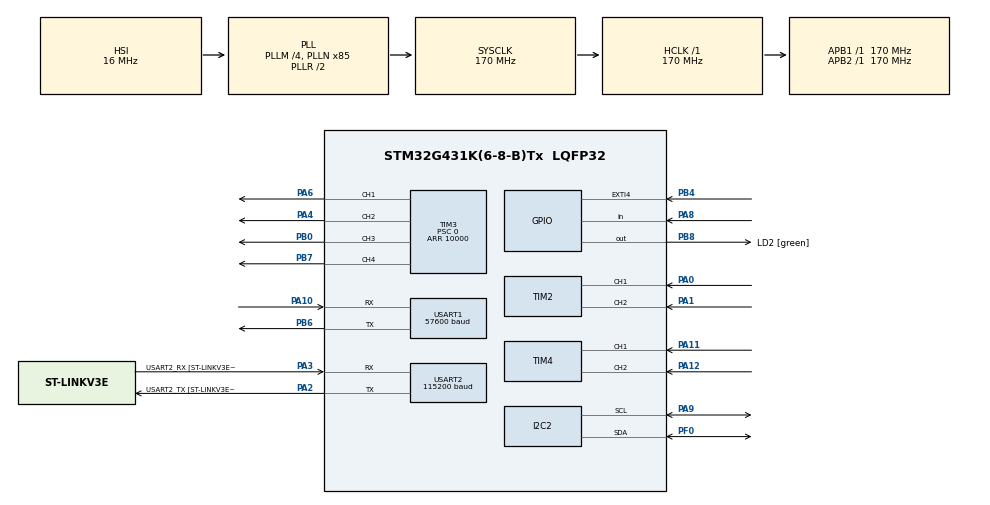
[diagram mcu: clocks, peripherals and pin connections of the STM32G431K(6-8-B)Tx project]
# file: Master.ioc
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I2C2.Timing=0x30A0A7FB
Mcu.Family=STM32G4
Mcu.Name=STM32G431K(6-8-B)Tx
Mcu.Package=LQFP32
NVIC.EXTI4_IRQn=true\:2\:0\:true\:false\:true\:true\:true
NVIC.I2C2_EV_IRQn=true\:0\:0\:false\:false\:true\:true\:true
NVIC.PriorityGroup=NVIC_PRIORITYGROUP_4
NVIC.TIM3_IRQn=true\:1\:0\:true\:false\:true\:true\:true
NVIC.USART2_IRQn=true\:0\:0\:true\:false\:true\:true\:true
PA0.Signal=S_TIM2_CH1
PA1.Signal=S_TIM2_CH2
PA10.Mode=Asynchronous
PA10.Signal=USART1_RX
PA11.Signal=S_TIM4_CH1
PA12.Signal=S_TIM4_CH2
PA13.GPIO_Label=T_SWDIO
PA13.Mode=Serial_Wire
PA13.Signal=SYS_JTMS-SWDIO
PA14.GPIO_Label=T_SWCLK
PA14.Mode=Serial_Wire
PA14.Signal=SYS_JTCK-SWCLK
PA2.GPIO_Label=USART2_TX [ST-LINKV3E_VCP_RX]
PA2.Mode=Asynchronous
PA2.Signal=USART2_TX
PA3.GPIO_Label=USART2_RX [ST-LINKV3E_VCP_TX]
PA3.Mode=Asynchronous
PA3.Signal=USART2_RX
PA4.Signal=S_TIM3_CH2
PA6.Signal=S_TIM3_CH1
PA8.GPIO_PuPd=GPIO_PULLUP
PA8.Signal=GPIO_Input
PA9.GPIO_Pu=GPIO_PULLUP
PA9.Mode=I2C
PA9.Signal=I2C2_SCL
PB0.Signal=S_TIM3_CH3
PB3.GPIO_Label=T_SWO
PB3.Signal=SYS_JTDO-SWO
PB4.GPIO_PuPd=GPIO_PULLDOWN
PB4.Signal=GPXTI4
PB6.GPIO_PuPd=GPIO_PULLUP
PB6.Mode=Asynchronous
PB6.Signal=USART1_TX
PB7.Signal=S_TIM3_CH4
PB8-BOOT0.GPIO_Label=LD2 [green]
PB8-BOOT0.Signal=GPIO_Output
PF0-OSC_IN.GPIO_Pu=GPIO_PULLUP
PF0-OSC_IN.Mode=I2C
PF0-OSC_IN.Signal=I2C2_SDA
ProjectManager.HeapSize=0x200
ProjectManager.StackSize=0x400
ProjectManager.TargetToolchain=STM32CubeIDE
RCC.ADC12Freq_Value=170000000
RCC.AHBFreq_Value=170000000
RCC.APB1Freq_Value=170000000
RCC.APB1TimFreq_Value=170000000
RCC.APB2Freq_Value=170000000
RCC.APB2TimFreq_Value=170000000
RCC.CortexFreq_Value=170000000
RCC.EXTERNAL_CLOCK_VALUE=12288000
RCC.HCLKFreq_Value=170000000
RCC.HSE_VALUE=8000000
RCC.HSI48_VALUE=48000000
RCC.HSI_VALUE=16000000
RCC.LSE_VALUE=32768
RCC.PLLM=RCC_PLLM_DIV4
RCC.PLLN=85
RCC.SYSCLKFreq_VALUE=170000000
RCC.SYSCLKSource=RCC_SYSCLKSOURCE_PLLCLK
RCC.USBFreq_Value=170000000
RCC.VCOOutputFreq_Value=340000000
SH.S_TIM2_CH1.0=TIM2_CH1,Encoder_Interface
SH.S_TIM2_CH2.0=TIM2_CH2,Encoder_Interface
SH.S_TIM3_CH1.0=TIM3_CH1,PWM Generation1 CH1
SH.S_TIM3_CH2.0=TIM3_CH2,PWM Generation2 CH2
SH.S_TIM3_CH3.0=TIM3_CH3,PWM Generation3 CH3
SH.S_TIM3_CH4.0=TIM3_CH4,PWM Generation4 CH4
SH.S_TIM4_CH1.0=TIM4_CH1,Encoder_Interface
SH.S_TIM4_CH2.0=TIM4_CH2,Encoder_Interface
TIM3.Channel-PWM\ Generation1\ CH1=TIM_CHANNEL_1
TIM3.Channel-PWM\ Generation2\ CH2=TIM_CHANNEL_2
TIM3.Channel-PWM\ Generation3\ CH3=TIM_CHANNEL_3
TIM3.Channel-PWM\ Generation4\ CH4=TIM_CHANNEL_4
TIM3.PeriodNoDither=10000
TIM3.Prescaler=0
USART1.BaudRate=57600
USART1.StopBits=STOPBITS_1
USART1.VirtualMode-Asynchronous=VM_ASYNC
USART2.BaudRate=115200
USART2.StopBits=STOPBITS_1
USART2.VirtualMode-Asynchronous=VM_ASYNC
USART2.WordLength=WORDLENGTH_8B
VP_SYS_VS_DBSignals.Mode=DisableDeadBatterySignals
VP_TIM3_VS_ClockSourceINT.Mode=Internal
board=NUCLEO-G431KB

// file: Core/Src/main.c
/* USER CODE BEGIN Header */
/**
 ******************************************************************************
 * @file           : main.c
 * @brief          : Main program body
 ******************************************************************************
 * @attention
 *
 * <h2><center>&copy; Copyright (c) 2021 STMicroelectronics.
 * All rights reserved.</center></h2>
 *
 * This software component is licensed by ST under BSD 3-Clause license,
 * the "License"; You may not use this file except in compliance with the
 * License. You may obtain a copy of the License at:
 *                        opensource.org/licenses/BSD-3-Clause
 *
 ******************************************************************************
 */
/* USER CODE END Header */
#include "main.h"

/* USER CODE BEGIN Includes */
#include <math.h>
#include "motion.h"
#include <order/motion.h>
#include "hl.h"
#include "crc_calculation.h"
#include "dxl.h"
#include "order/dxl.h"
#include "misc.h"
#include "order/actuator.h"
#include "homologation.h"
/* USER CODE END Includes */

I2C_HandleTypeDef hi2c2;

TIM_HandleTypeDef htim2;
TIM_HandleTypeDef htim3;
TIM_HandleTypeDef htim4;

UART_HandleTypeDef huart1;
UART_HandleTypeDef huart2;

/* USER CODE BEGIN PV */
const uint32_t pwm_base = 1e5;
/* USER CODE END PV */

void SystemClock_Config(void);
static void MX_GPIO_Init(void);
static void MX_USART2_UART_Init(void);
static void MX_TIM2_Init(void);
static void MX_TIM3_Init(void);
static void MX_TIM4_Init(void);
static void MX_I2C2_Init(void);
static void MX_USART1_UART_Init(void);

int main(void)
{

  /* MCU Configuration--------------------------------------------------------*/

  /* Reset of all peripherals, Initializes the Flash interface and the Systick. */
  HAL_Init();

  /* Configure the system clock */
  SystemClock_Config();

  /* Initialize all configured peripherals */
  MX_GPIO_Init();
  MX_USART2_UART_Init();
  MX_TIM2_Init();
  MX_TIM3_Init();
  MX_TIM4_Init();
  MX_I2C2_Init();
  MX_USART1_UART_Init();
  /* USER CODE BEGIN 2 */
	HL_Init(&huart2);
	Motion_Init(&htim2, &htim4, &htim3);
	HAL_Delay(5000);
	DXL_Init(&huart1);
	Misc_Init(&hi2c2);

	//uint8_t Ping[] = {0xFF, 0xFF, 0xFD, 0x00, 0xFE, 0x03, 0x00, 0x01, 0x31, 0x42};
	for (uint8_t i =17;i>=4;i=i-1){
		 DXL_Position_Angle(i, 0);
		 HAL_Delay(500);
	}

	while ((isJumperOn()) != 1) {

	}

	script_homologation();

  /* USER CODE END 2 */

  /* Infinite loop */
	while (1) {

	}
}

void SystemClock_Config(void)
{
  RCC_OscInitTypeDef RCC_OscInitStruct = {0};
  RCC_ClkInitTypeDef RCC_ClkInitStruct = {0};

  /** Configure the main internal regulator output voltage
  */
  HAL_PWREx_ControlVoltageScaling(PWR_REGULATOR_VOLTAGE_SCALE1_BOOST);
  /** Initializes the RCC Oscillators according to the specified parameters
  * in the RCC_OscInitTypeDef structure.
  */
  RCC_OscInitStruct.OscillatorType = RCC_OSCILLATORTYPE_HSI;
  RCC_OscInitStruct.HSIState = RCC_HSI_ON;
  RCC_OscInitStruct.HSICalibrationValue = RCC_HSICALIBRATION_DEFAULT;
  RCC_OscInitStruct.PLL.PLLState = RCC_PLL_ON;
  RCC_OscInitStruct.PLL.PLLSource = RCC_PLLSOURCE_HSI;
  RCC_OscInitStruct.PLL.PLLM = RCC_PLLM_DIV4;
  RCC_OscInitStruct.PLL.PLLN = 85;
  RCC_OscInitStruct.PLL.PLLP = RCC_PLLP_DIV2;
  RCC_OscInitStruct.PLL.PLLQ = RCC_PLLQ_DIV2;
  RCC_OscInitStruct.PLL.PLLR = RCC_PLLR_DIV2;
  if (HAL_RCC_OscConfig(&RCC_OscInitStruct) != HAL_OK)
  {
    Error_Handler();
  }
  /** Initializes the CPU, AHB and APB buses clocks
  */
  RCC_ClkInitStruct.ClockType = RCC_CLOCKTYPE_HCLK|RCC_CLOCKTYPE_SYSCLK
                              |RCC_CLOCKTYPE_PCLK1|RCC_CLOCKTYPE_PCLK2;
  RCC_ClkInitStruct.SYSCLKSource = RCC_SYSCLKSOURCE_PLLCLK;
  RCC_ClkInitStruct.AHBCLKDivider = RCC_SYSCLK_DIV1;
  RCC_ClkInitStruct.APB1CLKDivider = RCC_HCLK_DIV1;
  RCC_ClkInitStruct.APB2CLKDivider = RCC_HCLK_DIV1;

  if (HAL_RCC_ClockConfig(&RCC_ClkInitStruct, FLASH_LATENCY_4) != HAL_OK)
  {
    Error_Handler();
  }
}

static void MX_I2C2_Init(void)
{

  hi2c2.Instance = I2C2;
  hi2c2.Init.Timing = 0x30A0A7FB;
  hi2c2.Init.OwnAddress1 = 0;
  hi2c2.Init.AddressingMode = I2C_ADDRESSINGMODE_7BIT;
  hi2c2.Init.DualAddressMode = I2C_DUALADDRESS_DISABLE;
  hi2c2.Init.OwnAddress2 = 0;
  hi2c2.Init.OwnAddress2Masks = I2C_OA2_NOMASK;
  hi2c2.Init.GeneralCallMode = I2C_GENERALCALL_DISABLE;
  hi2c2.Init.NoStretchMode = I2C_NOSTRETCH_DISABLE;
  if (HAL_I2C_Init(&hi2c2) != HAL_OK)
  {
    Error_Handler();
  }
  /** Configure Analogue filter
  */
  if (HAL_I2CEx_ConfigAnalogFilter(&hi2c2, I2C_ANALOGFILTER_ENABLE) != HAL_OK)
  {
    Error_Handler();
  }
  /** Configure Digital filter
  */
  if (HAL_I2CEx_ConfigDigitalFilter(&hi2c2, 0) != HAL_OK)
  {
    Error_Handler();
  }

}

static void MX_TIM2_Init(void)
{

  TIM_Encoder_InitTypeDef sConfig = {0};
  TIM_MasterConfigTypeDef sMasterConfig = {0};

  htim2.Instance = TIM2;
  htim2.Init.Prescaler = 0;
  htim2.Init.CounterMode = TIM_COUNTERMODE_UP;
  htim2.Init.Period = 4.294967295E9;
  htim2.Init.ClockDivision = TIM_CLOCKDIVISION_DIV1;
  htim2.Init.AutoReloadPreload = TIM_AUTORELOAD_PRELOAD_DISABLE;
  sConfig.EncoderMode = TIM_ENCODERMODE_TI1;
  sConfig.IC1Polarity = TIM_ICPOLARITY_RISING;
  sConfig.IC1Selection = TIM_ICSELECTION_DIRECTTI;
  sConfig.IC1Prescaler = TIM_ICPSC_DIV1;
  sConfig.IC1Filter = 0;
  sConfig.IC2Polarity = TIM_ICPOLARITY_RISING;
  sConfig.IC2Selection = TIM_ICSELECTION_DIRECTTI;
  sConfig.IC2Prescaler = TIM_ICPSC_DIV1;
  sConfig.IC2Filter = 0;
  if (HAL_TIM_Encoder_Init(&htim2, &sConfig) != HAL_OK)
  {
    Error_Handler();
  }
  sMasterConfig.MasterOutputTrigger = TIM_TRGO_RESET;
  sMasterConfig.MasterSlaveMode = TIM_MASTERSLAVEMODE_DISABLE;
  if (HAL_TIMEx_MasterConfigSynchronization(&htim2, &sMasterConfig) != HAL_OK)
  {
    Error_Handler();
  }

}

static void MX_TIM3_Init(void)
{

  TIM_ClockConfigTypeDef sClockSourceConfig = {0};
  TIM_MasterConfigTypeDef sMasterConfig = {0};
  TIM_OC_InitTypeDef sConfigOC = {0};

  htim3.Instance = TIM3;
  htim3.Init.Prescaler = 0;
  htim3.Init.CounterMode = TIM_COUNTERMODE_UP;
  htim3.Init.Period = 10000;
  htim3.Init.ClockDivision = TIM_CLOCKDIVISION_DIV1;
  htim3.Init.AutoReloadPreload = TIM_AUTORELOAD_PRELOAD_DISABLE;
  if (HAL_TIM_Base_Init(&htim3) != HAL_OK)
  {
    Error_Handler();
  }
  sClockSourceConfig.ClockSource = TIM_CLOCKSOURCE_INTERNAL;
  if (HAL_TIM_ConfigClockSource(&htim3, &sClockSourceConfig) != HAL_OK)
  {
    Error_Handler();
  }
  if (HAL_TIM_PWM_Init(&htim3) != HAL_OK)
  {
    Error_Handler();
  }
  sMasterConfig.MasterOutputTrigger = TIM_TRGO_RESET;
  sMasterConfig.MasterSlaveMode = TIM_MASTERSLAVEMODE_DISABLE;
  if (HAL_TIMEx_MasterConfigSynchronization(&htim3, &sMasterConfig) != HAL_OK)
  {
    Error_Handler();
  }
  sConfigOC.OCMode = TIM_OCMODE_PWM1;
  sConfigOC.Pulse = 0;
  sConfigOC.OCPolarity = TIM_OCPOLARITY_HIGH;
  sConfigOC.OCFastMode = TIM_OCFAST_DISABLE;
  if (HAL_TIM_PWM_ConfigChannel(&htim3, &sConfigOC, TIM_CHANNEL_1) != HAL_OK)
  {
    Error_Handler();
  }
  if (HAL_TIM_PWM_ConfigChannel(&htim3, &sConfigOC, TIM_CHANNEL_2) != HAL_OK)
  {
    Error_Handler();
  }
  if (HAL_TIM_PWM_ConfigChannel(&htim3, &sConfigOC, TIM_CHANNEL_3) != HAL_OK)
  {
    Error_Handler();
  }
  if (HAL_TIM_PWM_ConfigChannel(&htim3, &sConfigOC, TIM_CHANNEL_4) != HAL_OK)
  {
    Error_Handler();
  }
  HAL_TIM_MspPostInit(&htim3);

}

static void MX_TIM4_Init(void)
{

  TIM_Encoder_InitTypeDef sConfig = {0};
  TIM_MasterConfigTypeDef sMasterConfig = {0};

  htim4.Instance = TIM4;
  htim4.Init.Prescaler = 0;
  htim4.Init.CounterMode = TIM_COUNTERMODE_UP;
  htim4.Init.Period = 65535;
  htim4.Init.ClockDivision = TIM_CLOCKDIVISION_DIV1;
  htim4.Init.AutoReloadPreload = TIM_AUTORELOAD_PRELOAD_DISABLE;
  sConfig.EncoderMode = TIM_ENCODERMODE_TI1;
  sConfig.IC1Polarity = TIM_ICPOLARITY_RISING;
  sConfig.IC1Selection = TIM_ICSELECTION_DIRECTTI;
  sConfig.IC1Prescaler = TIM_ICPSC_DIV1;
  sConfig.IC1Filter = 0;
  sConfig.IC2Polarity = TIM_ICPOLARITY_RISING;
  sConfig.IC2Selection = TIM_ICSELECTION_DIRECTTI;
  sConfig.IC2Prescaler = TIM_ICPSC_DIV1;
  sConfig.IC2Filter = 0;
  if (HAL_TIM_Encoder_Init(&htim4, &sConfig) != HAL_OK)
  {
    Error_Handler();
  }
  sMasterConfig.MasterOutputTrigger = TIM_TRGO_RESET;
  sMasterConfig.MasterSlaveMode = TIM_MASTERSLAVEMODE_DISABLE;
  if (HAL_TIMEx_MasterConfigSynchronization(&htim4, &sMasterConfig) != HAL_OK)
  {
    Error_Handler();
  }

}

static void MX_USART1_UART_Init(void)
{

  huart1.Instance = USART1;
  huart1.Init.BaudRate = 57600;
  huart1.Init.WordLength = UART_WORDLENGTH_8B;
  huart1.Init.StopBits = UART_STOPBITS_1;
  huart1.Init.Parity = UART_PARITY_NONE;
  huart1.Init.Mode = UART_MODE_TX_RX;
  huart1.Init.HwFlowCtl = UART_HWCONTROL_NONE;
  huart1.Init.OverSampling = UART_OVERSAMPLING_16;
  huart1.Init.OneBitSampling = UART_ONE_BIT_SAMPLE_DISABLE;
  huart1.Init.ClockPrescaler = UART_PRESCALER_DIV1;
  huart1.AdvancedInit.AdvFeatureInit = UART_ADVFEATURE_NO_INIT;
  if (HAL_UART_Init(&huart1) != HAL_OK)
  {
    Error_Handler();
  }
  if (HAL_UARTEx_SetTxFifoThreshold(&huart1, UART_TXFIFO_THRESHOLD_1_8) != HAL_OK)
  {
    Error_Handler();
  }
  if (HAL_UARTEx_SetRxFifoThreshold(&huart1, UART_RXFIFO_THRESHOLD_1_8) != HAL_OK)
  {
    Error_Handler();
  }
  if (HAL_UARTEx_DisableFifoMode(&huart1) != HAL_OK)
  {
    Error_Handler();
  }

}

static void MX_USART2_UART_Init(void)
{

  huart2.Instance = USART2;
  huart2.Init.BaudRate = 115200;
  huart2.Init.WordLength = UART_WORDLENGTH_8B;
  huart2.Init.StopBits = UART_STOPBITS_1;
  huart2.Init.Parity = UART_PARITY_NONE;
  huart2.Init.Mode = UART_MODE_TX_RX;
  huart2.Init.HwFlowCtl = UART_HWCONTROL_NONE;
  huart2.Init.OverSampling = UART_OVERSAMPLING_16;
  huart2.Init.OneBitSampling = UART_ONE_BIT_SAMPLE_DISABLE;
  huart2.Init.ClockPrescaler = UART_PRESCALER_DIV1;
  huart2.AdvancedInit.AdvFeatureInit = UART_ADVFEATURE_NO_INIT;
  if (HAL_UART_Init(&huart2) != HAL_OK)
  {
    Error_Handler();
  }
  if (HAL_UARTEx_SetTxFifoThreshold(&huart2, UART_TXFIFO_THRESHOLD_1_8) != HAL_OK)
  {
    Error_Handler();
  }
  if (HAL_UARTEx_SetRxFifoThreshold(&huart2, UART_RXFIFO_THRESHOLD_1_8) != HAL_OK)
  {
    Error_Handler();
  }
  if (HAL_UARTEx_DisableFifoMode(&huart2) != HAL_OK)
  {
    Error_Handler();
  }

}

static void MX_GPIO_Init(void)
{
  GPIO_InitTypeDef GPIO_InitStruct = {0};

  /* GPIO Ports Clock Enable */
  __HAL_RCC_GPIOF_CLK_ENABLE();
  __HAL_RCC_GPIOA_CLK_ENABLE();
  __HAL_RCC_GPIOB_CLK_ENABLE();

  /*Configure GPIO pin Output Level */
  HAL_GPIO_WritePin(LD2_GPIO_Port, LD2_Pin, GPIO_PIN_RESET);

  /*Configure GPIO pin : PA8 */
  GPIO_InitStruct.Pin = GPIO_PIN_8;
  GPIO_InitStruct.Mode = GPIO_MODE_INPUT;
  GPIO_InitStruct.Pull = GPIO_PULLUP;
  HAL_GPIO_Init(GPIOA, &GPIO_InitStruct);

  /*Configure GPIO pin : PB4 */
  GPIO_InitStruct.Pin = GPIO_PIN_4;
  GPIO_InitStruct.Mode = GPIO_MODE_IT_RISING;
  GPIO_InitStruct.Pull = GPIO_PULLDOWN;
  HAL_GPIO_Init(GPIOB, &GPIO_InitStruct);

  /*Configure GPIO pin : LD2_Pin */
  GPIO_InitStruct.Pin = LD2_Pin;
  GPIO_InitStruct.Mode = GPIO_MODE_OUTPUT_PP;
  GPIO_InitStruct.Pull = GPIO_NOPULL;
  GPIO_InitStruct.Speed = GPIO_SPEED_FREQ_LOW;
  HAL_GPIO_Init(LD2_GPIO_Port, &GPIO_InitStruct);

  /* EXTI interrupt init*/
  HAL_NVIC_SetPriority(EXTI4_IRQn, 2, 0);
  HAL_NVIC_EnableIRQ(EXTI4_IRQn);

}

/* USER CODE BEGIN 4 */
void HAL_GPIO_EXTI_Callback(uint16_t pin) {
	if (pin == GPIO_PIN_4) {
		Shared_Tick remaining_distance = Motion_Get_Remaining();
		Motion_Set_Forward_Translation_Setpoint(0);
		while (HAL_GPIO_ReadPin (GPIOB, GPIO_PIN_4) == GPIO_PIN_SET && remaining_distance > 0);
		Motion_Set_Forward_Translation_Setpoint(remaining_distance);
	}
}
/* USER CODE END 4 */

void Error_Handler(void)
{
	__disable_irq();
	while (1) {
	}
}
